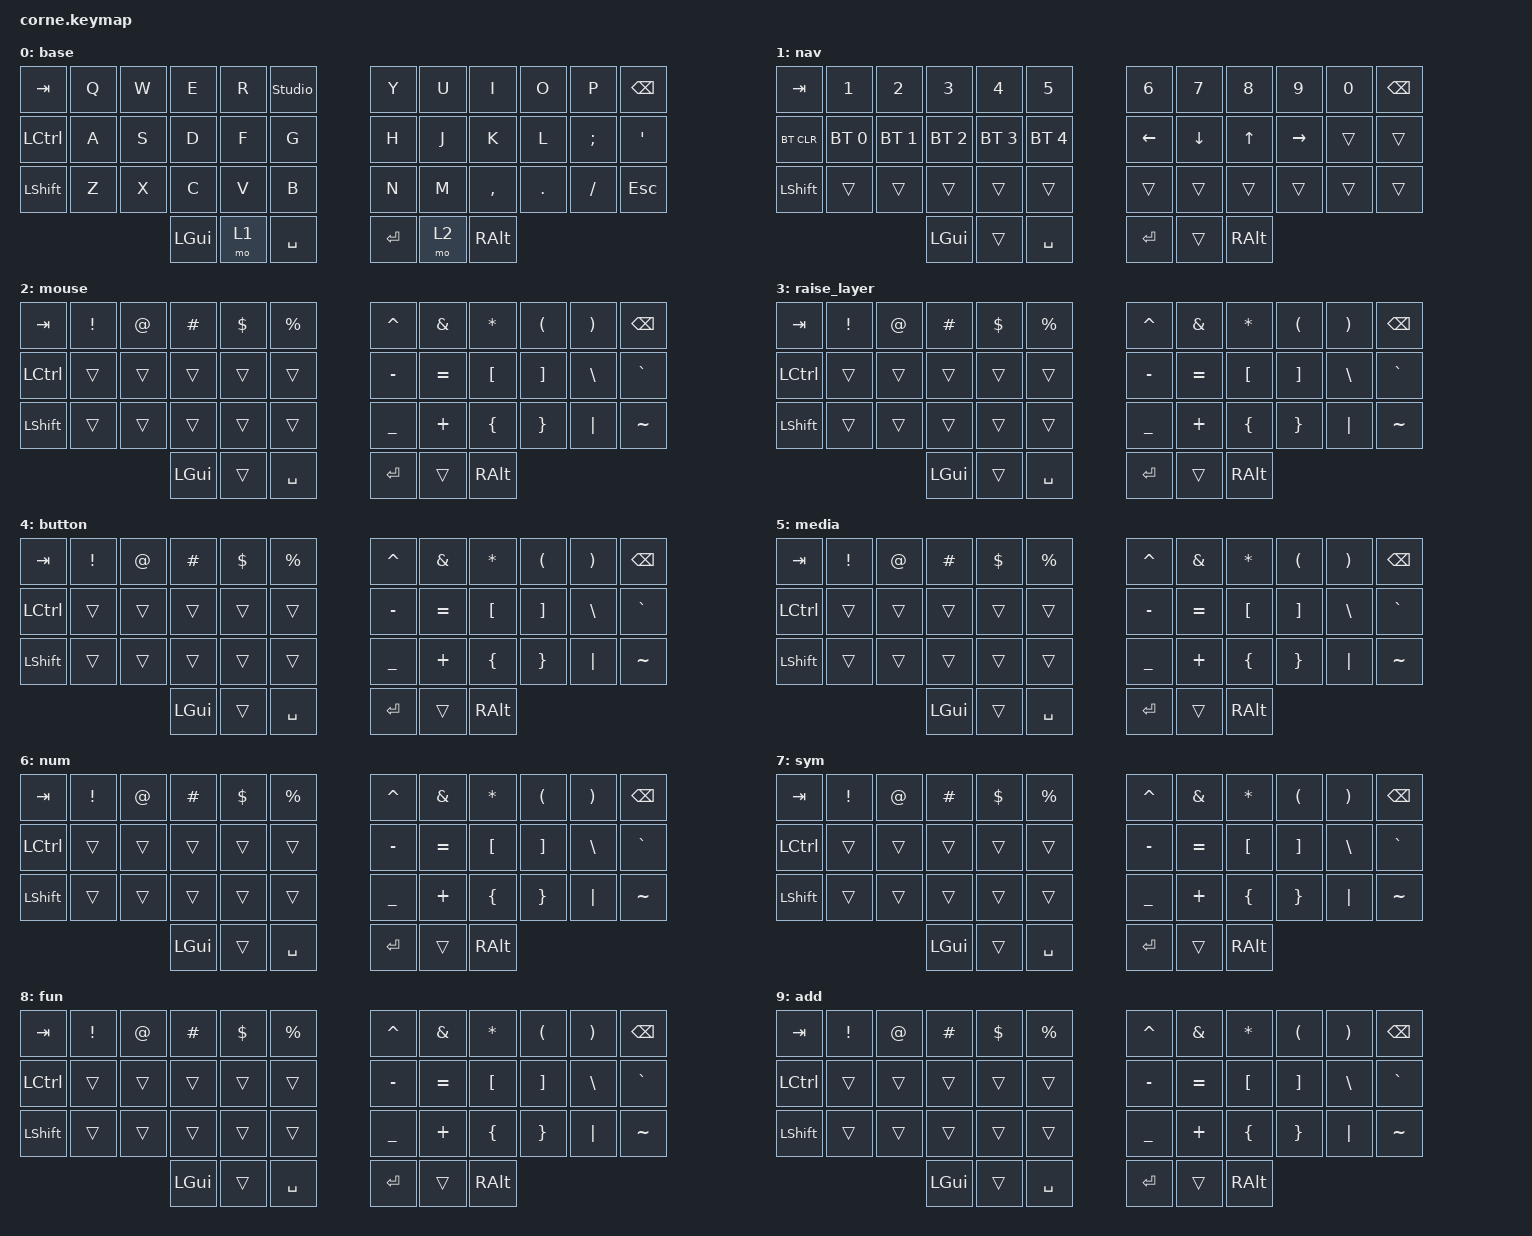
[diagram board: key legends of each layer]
/*
 * Copyright (c) 2020 The ZMK Contributors
 *
 * SPDX-License-Identifier: MIT
 */

#include <behaviors.dtsi>
#include <dt-bindings/zmk/keys.h>
#include <dt-bindings/zmk/bt.h>

/ {
        keymap {
                compatible = "zmk,keymap";

                base {
// -----------------------------------------------------------------------------------------
// |  TAB |  Q  |  W  |  E  |  R  |  T  |   |  Y  |  U   |  I  |  O  |  P  | BSPC |
// | CTRL |  A  |  S  |  D  |  F  |  G  |   |  H  |  J   |  K  |  L  |  ;  |  '   |
// | SHFT |  Z  |  X  |  C  |  V  |  B  |   |  N  |  M   |  ,  |  .  |  /  | ESC  |
//                    | GUI | LWR | SPC |   | ENT | RSE  | ALT |
                        bindings = <
   &kp TAB   &kp Q &kp W &kp E &kp R &studio_unlock    &kp Y &kp U  &kp I     &kp O   &kp P    &kp BSPC
   &kp LCTRL &kp A &kp S &kp D &kp F &kp G   &kp H &kp J  &kp K     &kp L   &kp SEMI &kp SQT
   &kp LSHFT &kp Z &kp X &kp C &kp V &kp B   &kp N &kp M  &kp COMMA &kp DOT &kp FSLH &kp ESC
                  &kp LGUI &mo 1 &kp SPACE   &kp RET &mo 2 &kp RALT
                        >;
                };
                nav {
// -----------------------------------------------------------------------------------------
// |  TAB |  1  |  2  |  3  |  4  |  5  |   |  6  |  7  |  8  |  9  |  0  | BSPC |
// | BTCLR| BT1 | BT2 | BT3 | BT4 | BT5 |   | LFT | DWN |  UP | RGT |     |      |
// | SHFT |     |     |     |     |     |   |     |     |     |     |     |      |
//                    | GUI |     | SPC |   | ENT |     | ALT |
                        bindings = <
   &kp TAB    &kp N1       &kp N2       &kp N3       &kp N4       &kp N5         &kp N6   &kp N7   &kp N8 &kp N9    &kp N0 &kp BSPC
   &bt BT_CLR &bt BT_SEL 0 &bt BT_SEL 1 &bt BT_SEL 2 &bt BT_SEL 3 &bt BT_SEL 4   &kp LEFT &kp DOWN &kp UP &kp RIGHT &trans &trans
   &kp LSHFT  &trans       &trans       &trans       &trans       &trans         &trans   &trans   &trans &trans    &trans &trans
                                    &kp LGUI     &trans       &kp SPACE      &kp RET  &trans   &kp RALT
                        >;
                };

                mouse {
// -----------------------------------------------------------------------------------------
// |  TAB |  !  |  @  |  #  |  $  |  %  |   |  ^  |  &  |  *  |  (  |  )  | BSPC |
// | CTRL |     |     |     |     |     |   |  -  |  =  |  [  |  ]  |  \  |  `   |
// | SHFT |     |     |     |     |     |   |  _  |  +  |  {  |  }  | "|" |  ~   |
//                    | GUI |     | SPC |   | ENT |     | ALT |
                        bindings = <
   &kp  TAB  &kp EXCL &kp AT &kp HASH &kp DLLR &kp PRCNT   &kp CARET &kp AMPS  &kp ASTRK &kp LPAR &kp RPAR &kp BSPC
   &kp LCTRL &trans   &trans &trans   &trans   &trans      &kp MINUS &kp EQUAL &kp LBKT  &kp RBKT &kp BSLH &kp GRAVE
   &kp LSHFT &trans   &trans &trans   &trans   &trans      &kp UNDER &kp PLUS  &kp LBRC  &kp RBRC &kp PIPE &kp TILDE
                             &kp LGUI &trans   &kp SPACE   &kp RET   &trans    &kp RALT
                        >;
                };
                raise_layer {
// -----------------------------------------------------------------------------------------
// |  TAB |  !  |  @  |  #  |  $  |  %  |   |  ^  |  &  |  *  |  (  |  )  | BSPC |
// | CTRL |     |     |     |     |     |   |  -  |  =  |  [  |  ]  |  \  |  `   |
// | SHFT |     |     |     |     |     |   |  _  |  +  |  {  |  }  | "|" |  ~   |
//                    | GUI |     | SPC |   | ENT |     | ALT |
                        bindings = <
   &kp  TAB  &kp EXCL &kp AT &kp HASH &kp DLLR &kp PRCNT   &kp CARET &kp AMPS  &kp ASTRK &kp LPAR &kp RPAR &kp BSPC
   &kp LCTRL &trans   &trans &trans   &trans   &trans      &kp MINUS &kp EQUAL &kp LBKT  &kp RBKT &kp BSLH &kp GRAVE
   &kp LSHFT &trans   &trans &trans   &trans   &trans      &kp UNDER &kp PLUS  &kp LBRC  &kp RBRC &kp PIPE &kp TILDE
                             &kp LGUI &trans   &kp SPACE   &kp RET   &trans    &kp RALT
                        >;
                };
                button {
// -----------------------------------------------------------------------------------------
// |  TAB |  !  |  @  |  #  |  $  |  %  |   |  ^  |  &  |  *  |  (  |  )  | BSPC |
// | CTRL |     |     |     |     |     |   |  -  |  =  |  [  |  ]  |  \  |  `   |
// | SHFT |     |     |     |     |     |   |  _  |  +  |  {  |  }  | "|" |  ~   |
//                    | GUI |     | SPC |   | ENT |     | ALT |
                        bindings = <
   &kp  TAB  &kp EXCL &kp AT &kp HASH &kp DLLR &kp PRCNT   &kp CARET &kp AMPS  &kp ASTRK &kp LPAR &kp RPAR &kp BSPC
   &kp LCTRL &trans   &trans &trans   &trans   &trans      &kp MINUS &kp EQUAL &kp LBKT  &kp RBKT &kp BSLH &kp GRAVE
   &kp LSHFT &trans   &trans &trans   &trans   &trans      &kp UNDER &kp PLUS  &kp LBRC  &kp RBRC &kp PIPE &kp TILDE
                             &kp LGUI &trans   &kp SPACE   &kp RET   &trans    &kp RALT
                        >;
                };
                media {
// -----------------------------------------------------------------------------------------
// |  TAB |  !  |  @  |  #  |  $  |  %  |   |  ^  |  &  |  *  |  (  |  )  | BSPC |
// | CTRL |     |     |     |     |     |   |  -  |  =  |  [  |  ]  |  \  |  `   |
// | SHFT |     |     |     |     |     |   |  _  |  +  |  {  |  }  | "|" |  ~   |
//                    | GUI |     | SPC |   | ENT |     | ALT |
                        bindings = <
   &kp  TAB  &kp EXCL &kp AT &kp HASH &kp DLLR &kp PRCNT   &kp CARET &kp AMPS  &kp ASTRK &kp LPAR &kp RPAR &kp BSPC
   &kp LCTRL &trans   &trans &trans   &trans   &trans      &kp MINUS &kp EQUAL &kp LBKT  &kp RBKT &kp BSLH &kp GRAVE
   &kp LSHFT &trans   &trans &trans   &trans   &trans      &kp UNDER &kp PLUS  &kp LBRC  &kp RBRC &kp PIPE &kp TILDE
                             &kp LGUI &trans   &kp SPACE   &kp RET   &trans    &kp RALT
                        >;
                };
                num {
// -----------------------------------------------------------------------------------------
// |  TAB |  !  |  @  |  #  |  $  |  %  |   |  ^  |  &  |  *  |  (  |  )  | BSPC |
// | CTRL |     |     |     |     |     |   |  -  |  =  |  [  |  ]  |  \  |  `   |
// | SHFT |     |     |     |     |     |   |  _  |  +  |  {  |  }  | "|" |  ~   |
//                    | GUI |     | SPC |   | ENT |     | ALT |
                        bindings = <
   &kp  TAB  &kp EXCL &kp AT &kp HASH &kp DLLR &kp PRCNT   &kp CARET &kp AMPS  &kp ASTRK &kp LPAR &kp RPAR &kp BSPC
   &kp LCTRL &trans   &trans &trans   &trans   &trans      &kp MINUS &kp EQUAL &kp LBKT  &kp RBKT &kp BSLH &kp GRAVE
   &kp LSHFT &trans   &trans &trans   &trans   &trans      &kp UNDER &kp PLUS  &kp LBRC  &kp RBRC &kp PIPE &kp TILDE
                             &kp LGUI &trans   &kp SPACE   &kp RET   &trans    &kp RALT
                        >;
                };
                sym {
// -----------------------------------------------------------------------------------------
// |  TAB |  !  |  @  |  #  |  $  |  %  |   |  ^  |  &  |  *  |  (  |  )  | BSPC |
// | CTRL |     |     |     |     |     |   |  -  |  =  |  [  |  ]  |  \  |  `   |
// | SHFT |     |     |     |     |     |   |  _  |  +  |  {  |  }  | "|" |  ~   |
//                    | GUI |     | SPC |   | ENT |     | ALT |
                        bindings = <
   &kp  TAB  &kp EXCL &kp AT &kp HASH &kp DLLR &kp PRCNT   &kp CARET &kp AMPS  &kp ASTRK &kp LPAR &kp RPAR &kp BSPC
   &kp LCTRL &trans   &trans &trans   &trans   &trans      &kp MINUS &kp EQUAL &kp LBKT  &kp RBKT &kp BSLH &kp GRAVE
   &kp LSHFT &trans   &trans &trans   &trans   &trans      &kp UNDER &kp PLUS  &kp LBRC  &kp RBRC &kp PIPE &kp TILDE
                             &kp LGUI &trans   &kp SPACE   &kp RET   &trans    &kp RALT
                        >;
                };
                fun {
// -----------------------------------------------------------------------------------------
// |  TAB |  !  |  @  |  #  |  $  |  %  |   |  ^  |  &  |  *  |  (  |  )  | BSPC |
// | CTRL |     |     |     |     |     |   |  -  |  =  |  [  |  ]  |  \  |  `   |
// | SHFT |     |     |     |     |     |   |  _  |  +  |  {  |  }  | "|" |  ~   |
//                    | GUI |     | SPC |   | ENT |     | ALT |
                        bindings = <
   &kp  TAB  &kp EXCL &kp AT &kp HASH &kp DLLR &kp PRCNT   &kp CARET &kp AMPS  &kp ASTRK &kp LPAR &kp RPAR &kp BSPC
   &kp LCTRL &trans   &trans &trans   &trans   &trans      &kp MINUS &kp EQUAL &kp LBKT  &kp RBKT &kp BSLH &kp GRAVE
   &kp LSHFT &trans   &trans &trans   &trans   &trans      &kp UNDER &kp PLUS  &kp LBRC  &kp RBRC &kp PIPE &kp TILDE
                             &kp LGUI &trans   &kp SPACE   &kp RET   &trans    &kp RALT
                        >;
                };
                add {
// -----------------------------------------------------------------------------------------
// |  TAB |  !  |  @  |  #  |  $  |  %  |   |  ^  |  &  |  *  |  (  |  )  | BSPC |
// | CTRL |     |     |     |     |     |   |  -  |  =  |  [  |  ]  |  \  |  `   |
// | SHFT |     |     |     |     |     |   |  _  |  +  |  {  |  }  | "|" |  ~   |
//                    | GUI |     | SPC |   | ENT |     | ALT |
                        bindings = <
   &kp  TAB  &kp EXCL &kp AT &kp HASH &kp DLLR &kp PRCNT   &kp CARET &kp AMPS  &kp ASTRK &kp LPAR &kp RPAR &kp BSPC
   &kp LCTRL &trans   &trans &trans   &trans   &trans      &kp MINUS &kp EQUAL &kp LBKT  &kp RBKT &kp BSLH &kp GRAVE
   &kp LSHFT &trans   &trans &trans   &trans   &trans      &kp UNDER &kp PLUS  &kp LBRC  &kp RBRC &kp PIPE &kp TILDE
                             &kp LGUI &trans   &kp SPACE   &kp RET   &trans    &kp RALT
                        >;
                };
        };
};
